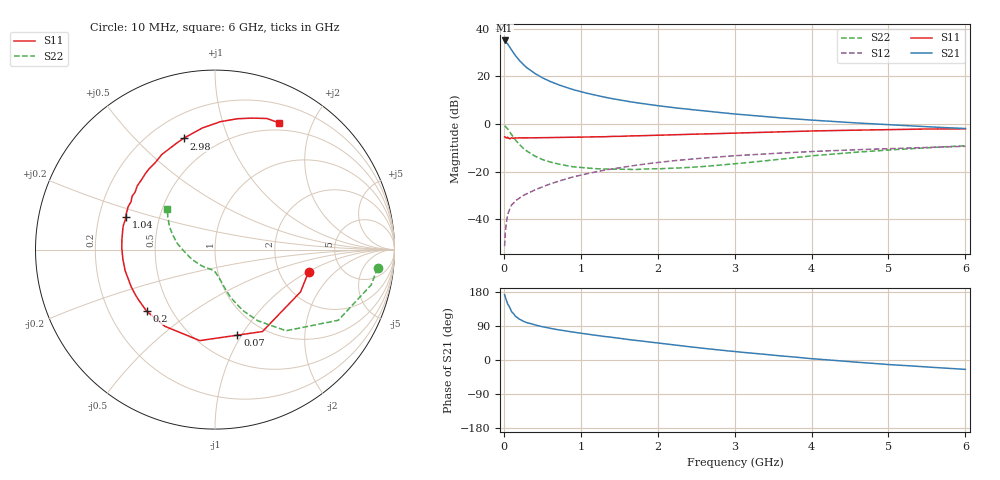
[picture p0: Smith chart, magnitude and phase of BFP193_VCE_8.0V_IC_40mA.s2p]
! Infineon Technologies  Discrete & RF Semiconductors
! BFP193
! VCE = 8.0 V,  IC =  40 mA
! Common Emitter S-Parameters:  Jan 2016
# GHz  S  MA  R  50
!  f  S11  S21  S12  S22
! GHz  MAG  ANG  MAG  ANG  MAG  ANG  MAG  ANG
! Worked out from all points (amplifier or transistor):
!   210 points, 10 MHz to 6 GHz, reference 50 ohm
!   highest |S21| = 35.1 dB at 10 MHz (marker M1)
!   |S21| within 3 dB of that: start of sweep to 79.64 MHz
!   unconditionally stable (mu >= 1): 656.6 MHz to 3.955 GHz
!   at 185 MHz: K = 0.61, MSG = 29.5 dB, |S12| = -31.5 dB
!   at 1.52 GHz: K = 1.07, MAG = 12.6 dB, |S12| = -18.3 dB
!   at 6 GHz: K = 0.94, MSG = 3.7 dB, |S12| = -9.4 dB
!   S11 on the Smith chart (normalised r, x): 10 MHz: 2.92, -1.01; 70 MHz: 0.76, -0.96; 200 MHz: 0.36, -0.34; 1.04 GHz: 0.32, +0.16; 2.98 GHz: 0.33, +0.70; 6 GHz: 0.41, +1.55
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0.01  0.5361 -13.3  57.09 172.6  0.0027 82.0  0.912 -6.5
0.02  0.5317 -26.3  54.72 164.9  0.0054 78.5  0.8917 -12.8
0.05  0.5276 -59.9  48.15 147.6  0.0125 67.8  0.7919 -29.8
0.07  0.4928 -75.3  42.77 141.0  0.0153 62.8  0.7068 -36.2
0.1  0.5141 -99.5  36.13 127.8  0.0197 58.1  0.6009 -48.8
0.15  0.5108 -123.3  27.44 115.5  0.0242 53.6  0.4625 -59.0
0.2  0.5125 -138.1  21.89 107.9  0.0275 54.4  0.3733 -65.4
0.26  0.51 -149.9  17.38 101.7  0.0319 54.9  0.3014 -70.1
0.3  0.5109 -156.0  15.2 98.5  0.0341 56.2  0.2697 -72.5
0.4  0.5141 -166.8  11.65 92.6  0.0408 57.8  0.2127 -76.5
0.5  0.5161 -174.2  9.369 87.8  0.0475 60.1  0.1791 -79.3
0.6  0.5191 179.3  7.864 83.7  0.0548 61.0  0.159 -81.9
0.7  0.5216 174.1  6.777 79.9  0.0618 61.8  0.1444 -84.4
1.02  0.528 160.4  4.689 70.2  0.0856 60.8  0.1209 -91.7
1.04  0.5293 159.7  4.605 69.6  0.0871 60.8  0.1202 -92.3
1.4  0.5495 147.2  3.429 60.0  0.1132 57.9  0.113 -102.3
2.02  0.5809 129.3  2.408 44.5  0.1564 50.7  0.1146 -124.5
2.98  0.6438 105.8  1.638 22.6  0.2142 38.7  0.1445 -161.7
3.1  0.651 103.4  1.574 20.4  0.2202 37.2  0.1505 -165.9
4.1  0.7176 86.1  1.18 2.0  0.2681 25.5  0.2208 168.2
5.1  0.7653 73.1  0.948 -13.2  0.3068 14.6  0.2908 151.5
6  0.7909 63.2  0.804 -24.8  0.3396 5.3  0.349 139.6
